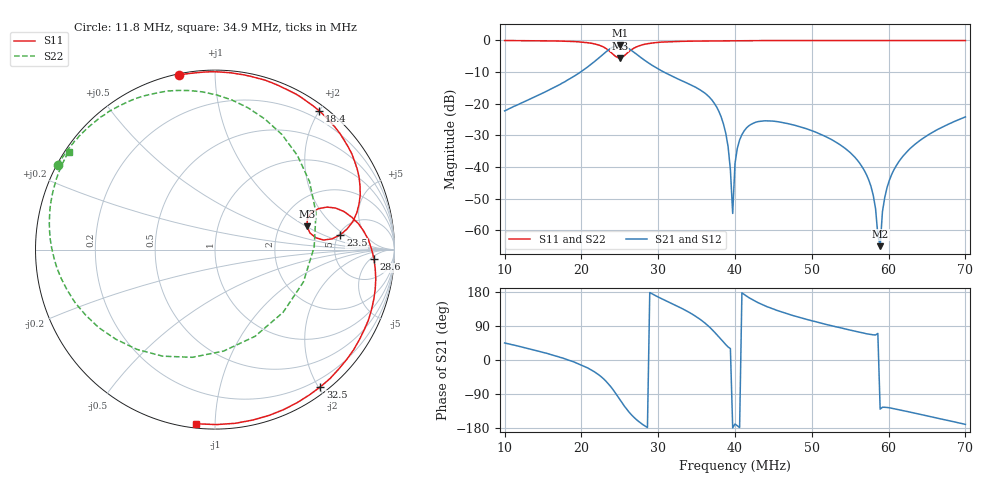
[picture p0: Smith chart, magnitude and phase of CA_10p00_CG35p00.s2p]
#  HZ  S  RI  R  50.00
! Rohde & Schwarz ZVT8 8Ports - Version 4.11 - 1300.0000k08 SN: 100242
! Date: 2026-07-31 14:12:20
! Measurements: S11 S21 S12 S22
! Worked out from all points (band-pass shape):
!   201 points, 10 MHz to 70 MHz, reference 50 ohm
!   highest |S21| = -1.48 dB at 25 MHz (marker M1); lowest = -65.0 dB at 58.9 MHz (marker M2)
!   |S21| within 3 dB of the highest: 22.78 MHz to 27.24 MHz (4.463 MHz wide, 17.8 % of centre)
!   lowest |S11| = -5.6 dB at 25 MHz (marker M3), VSWR 3.23, Z = 141 + j50.7 ohm
!   |S11| at or under -10 dB: nowhere
!   |S22| runs from -5.7 to 0.0 dB; largest |S21 - S12| = 0.0031
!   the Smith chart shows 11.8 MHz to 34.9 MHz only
!   S11 on the Smith chart (normalised r, x): 11.8 MHz: 0.01, +0.82; 18.4 MHz: 0.08, +2.00; 23.5 MHz: 5.18, +1.69; 28.6 MHz: 13, -7; 32.5 MHz: 0.09, -2.02; 34.9 MHz: 0.02, -0.90
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1e7  -0.4044 0.9108  0.0545 0.0545  0.0543 0.0547  -0.9152 0.3945
1.18e7  -0.1982 0.9715  0.0782 0.0579  0.0783 0.058  -0.8772 0.4701
1.84e7  0.581 0.7731  0.2443 -0.00385  0.2439 -0.00325  -0.5676 0.7823
2.02e7  0.7397 0.576  0.3252 -0.0873  0.3249 -0.087  -0.362 0.8646
2.35e7  0.6987 0.0825  0.3229 -0.6256  0.3241 -0.6253  0.4589 0.5252
2.5e7  0.5116 0.1296  -0.2061 -0.8177  -0.2084 -0.8177  0.3793 -0.3496
2.62e7  0.6247 0.2369  -0.5448 -0.4999  -0.5439 -0.5002  -0.2918 -0.5938
2.86e7  0.8862 -0.0531  -0.4522 -0.013  -0.4535 -0.0129  -0.8816 -0.0999
3.01e7  0.8721 -0.3342  -0.3376 0.0897  -0.3376 0.0886  -0.9231 0.144
3.25e7  0.5864 -0.7656  -0.1957 0.153  -0.1957 0.1537  -0.8851 0.3896
3.49e7  -0.1037 -0.9705  -0.0765 0.1644  -0.0766 0.1632  -0.8149 0.5449
3.76e7  -0.9805 0.0468  0.0339 0.0824  0.0338 0.0825  -0.7314 0.6742
3.91e7  -0.3661 0.9144  0.0173 0.0119  0.0174 0.0119  -0.6797 0.7333
3.97e7  0.0437 0.985  -0.00184 -3.33e-05  -0.00186 -4.98e-05  -0.6563 0.7512
4e7  0.2319 0.959  -0.0112 -0.00219  -0.0111 -0.00207  -0.6465 0.7613
4.3e7  0.9937 0.00449  -0.0458 0.025  -0.0456 0.0249  -0.539 0.8399
5.02e7  0.1453 -0.9864  -0.0079 0.0357  -0.00806 0.0359  -0.2831 0.9559
5.68e7  -0.6687 -0.7409  0.00294 0.00848  0.00293 0.00847  -0.0385 0.9959
5.8e7  -0.7709 -0.6327  0.00143 0.00327  0.00143 0.00328  0.00761 0.9979
5.89e7  -0.8355 -0.5449  -0.000357 -0.000432  -0.00034 -0.000404  0.0401 0.9962
6.01e7  -0.904 -0.4185  -0.00363 -0.00498  -0.00361 -0.00498  0.0863 0.9936
7e7  -0.74 0.6648  -0.0609 -0.0109  -0.0608 -0.0109  0.459 0.8837
